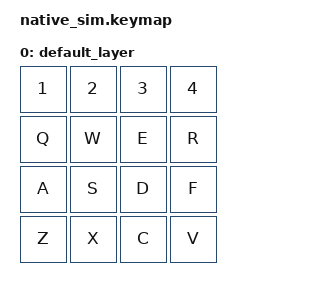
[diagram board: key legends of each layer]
#include <dt-bindings/zmk/keys.h>
#include <dt-bindings/zmk/kscan_mock.h>
#include <dt-bindings/zmk/led_matrix.h>
#include <dt-bindings/led/led.h>
#include <behaviors.dtsi>

/ {
    chosen {
        zmk,kscan = &kscan;
        zmk,led-matrix = &led_matrix;
    };

    kscan: native_posix_64_kscan_mock {
        compatible = "zmk,kscan-mock";
        rows = <4>;
        columns = <4>;
        exit-after;
        events = <
            ZMK_MOCK_PRESS(0,0,500)
            ZMK_MOCK_RELEASE(0,0,10)
            ZMK_MOCK_PRESS(0,1,500)
            ZMK_MOCK_RELEASE(0,1,10)
            ZMK_MOCK_PRESS(0,2,500)
            ZMK_MOCK_RELEASE(0,2,10)
            ZMK_MOCK_PRESS(0,3,500)
            ZMK_MOCK_RELEASE(0,3,10)
        >;
    };

    keymap {
        compatible = "zmk,keymap";

        default_layer {
            bindings = <
                &kp N1 &kp N2 &kp N3 &kp N4
                &kp Q &kp W &kp E &kp R
                &kp A &kp S &kp D &kp F
                &kp Z &kp X &kp C &kp V
            >;
        };
    };

    led_matrix_dev: led_matrix_dev {
        compatible = "zmk,led-mock";
        mode = "color";

        led_0 { index = <0>; color-mapping = <LED_COLOR_ID_GREEN LED_COLOR_ID_RED LED_COLOR_ID_BLUE>; };
        led_1 { index = <1>; color-mapping = <LED_COLOR_ID_GREEN LED_COLOR_ID_RED LED_COLOR_ID_BLUE>; };
        led_2 { index = <2>; color-mapping = <LED_COLOR_ID_GREEN LED_COLOR_ID_RED LED_COLOR_ID_BLUE>; };
        led_3 { index = <3>; color-mapping = <LED_COLOR_ID_GREEN LED_COLOR_ID_RED LED_COLOR_ID_BLUE>; };
        led_4 { index = <4>; color-mapping = <LED_COLOR_ID_GREEN LED_COLOR_ID_RED LED_COLOR_ID_BLUE>; };
        led_5 { index = <5>; color-mapping = <LED_COLOR_ID_GREEN LED_COLOR_ID_RED LED_COLOR_ID_BLUE>; };
        led_6 { index = <6>; color-mapping = <LED_COLOR_ID_GREEN LED_COLOR_ID_RED LED_COLOR_ID_BLUE>; };
        led_7 { index = <7>; color-mapping = <LED_COLOR_ID_GREEN LED_COLOR_ID_RED LED_COLOR_ID_BLUE>; };
        led_8 { index = <8>; color-mapping = <LED_COLOR_ID_GREEN LED_COLOR_ID_RED LED_COLOR_ID_BLUE>; };
        led_9 { index = <9>; color-mapping = <LED_COLOR_ID_GREEN LED_COLOR_ID_RED LED_COLOR_ID_BLUE>; };
        led_10 { index = <10>; color-mapping = <LED_COLOR_ID_GREEN LED_COLOR_ID_RED LED_COLOR_ID_BLUE>; };
        led_11 { index = <11>; color-mapping = <LED_COLOR_ID_GREEN LED_COLOR_ID_RED LED_COLOR_ID_BLUE>; };
        led_12 { index = <12>; color-mapping = <LED_COLOR_ID_GREEN LED_COLOR_ID_RED LED_COLOR_ID_BLUE>; };
        led_13 { index = <13>; color-mapping = <LED_COLOR_ID_GREEN LED_COLOR_ID_RED LED_COLOR_ID_BLUE>; };
        led_14 { index = <14>; color-mapping = <LED_COLOR_ID_GREEN LED_COLOR_ID_RED LED_COLOR_ID_BLUE>; };
        led_15 { index = <15>; color-mapping = <LED_COLOR_ID_GREEN LED_COLOR_ID_RED LED_COLOR_ID_BLUE>; };
    };

    led_matrix: led_matrix {
        compatible = "zmk,led-matrix";
        led-driver = "matrix";
        led-device = <&led_matrix_dev>;
        led-count = <16>;
        matrix-led-grid = <
            0 1 2 3 LM_BREAK
            4 5 6 7 LM_BREAK
            8 9 10 11 LM_BREAK
            12 13 14 15
        >;

        profile0 {
            profile-id = <0>;
            display-name = "Rain Randomized";
            renderer = "rain";
            colors = <0x3399FF>;
            brightness = <100>;
            period-ms = <1200>;
        };
    };
};
